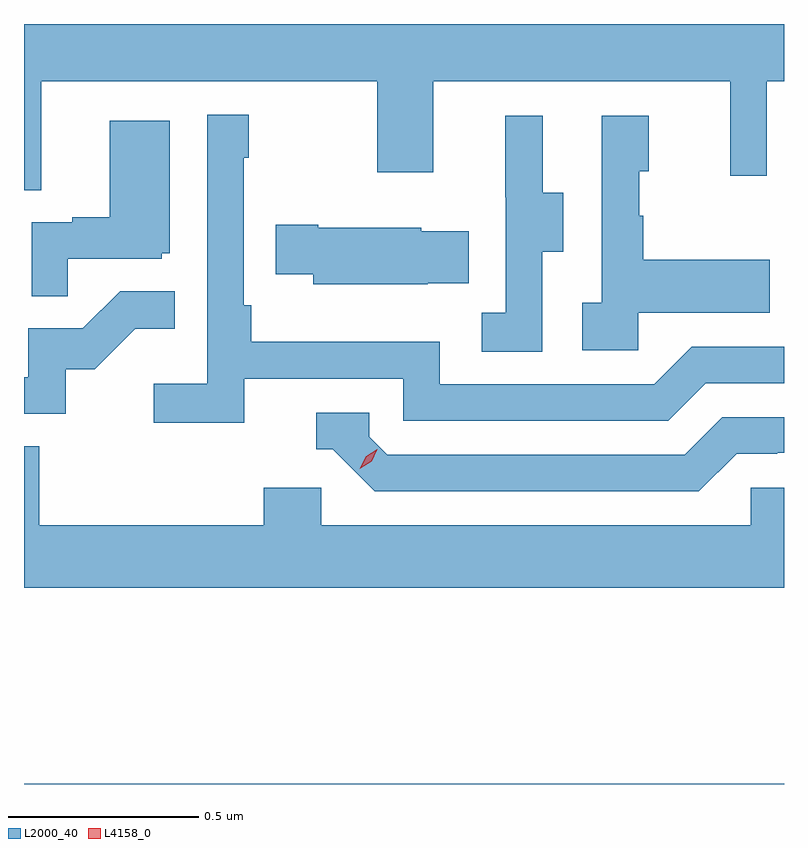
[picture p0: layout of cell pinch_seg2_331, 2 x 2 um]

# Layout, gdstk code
import gdstk
lib = gdstk.Library(unit=1e-6, precision=1e-09)
def R(c, l, rs):  # rectangles x0, y0, x1, y1
    for r in rs: c.add(gdstk.rectangle(r[:2], r[2:], *l))
def P(c, l, *ps):  # polygons
    for p in ps: c.add(gdstk.Polygon(p, *l))
L2000_40 = (2000, 40)
L4158_0 = (4158, 0)

pinch_seg2_331 = lib.new_cell('pinch_seg2_331')
R(pinch_seg2_331, L2000_40, [(900.826,625.807,902.826,625.808)])
P(pinch_seg2_331, L2000_40, [(900.871,627.656),(901.756,627.656),(901.756,627.417),(901.903,627.417),(901.903,627.656),(902.684,627.656),(902.684,627.408),(902.781,627.408),(902.781,627.656),(902.826,627.656),(902.826,627.807),(900.826,627.807),(900.826,627.37),(900.871,627.37)],
  [(901.406,626.874),(901.824,626.874),(901.824,626.763),(902.521,626.763),(902.62,626.862),(902.826,626.862),(902.826,626.958),(902.583,626.958),(902.484,626.859),(901.92,626.859),(901.92,626.971),(901.424,626.971),(901.424,627.067),(901.404,627.067),(901.404,627.455),(901.417,627.455),(901.417,627.568),(901.308,627.568),(901.308,626.86),(901.167,626.86),(901.167,626.758),(901.406,626.758)],
  [(902.442,627.047),(902.789,627.047),(902.789,627.187),(902.455,627.187),(902.455,627.302),(902.445,627.302),(902.445,627.42),(902.47,627.42),(902.47,627.565),(902.346,627.565),(902.346,627.074),(902.295,627.074),(902.295,626.949),(902.442,626.949)],
  [(902.19,627.208),(902.245,627.208),(902.245,627.363),(902.191,627.363),(902.191,627.565),(902.093,627.565),(902.093,627.351),(902.094,627.351),(902.094,627.047),(902.031,627.047),(902.031,626.944),(902.19,626.944)],
  [(900.941,627.189),(901.188,627.189),(901.188,627.204),(901.21,627.204),(901.21,627.553),(901.052,627.553),(901.052,627.298),(900.953,627.298),(900.953,627.285),(900.846,627.285),(900.846,627.091),(900.941,627.091)],
  [(901.889,627.125),(901.997,627.125),(901.997,627.262),(901.872,627.262),(901.872,627.271),(901.6,627.271),(901.6,627.279),(901.489,627.279),(901.489,627.149),(901.587,627.149),(901.587,627.122),(901.889,627.122)],
  [(900.936,626.898),(901.012,626.898),(901.119,627.005),(901.223,627.005),(901.223,627.104),(901.079,627.104),(900.981,627.006),(900.837,627.006),(900.837,626.877),(900.826,626.877),(900.826,626.781),(900.936,626.781)],
  [(902.701,626.676),(902.808,626.676),(902.808,626.679),(902.826,626.679),(902.826,626.772),(902.664,626.772),(902.565,626.673),(901.782,626.673),(901.734,626.721),(901.734,626.784),(901.595,626.784),(901.595,626.688),(901.638,626.688),(901.749,626.577),(902.602,626.577)],
  [(902.826,626.586),(902.739,626.586),(902.739,626.488),(901.608,626.488),(901.608,626.586),(901.457,626.586),(901.457,626.488),(900.866,626.488),(900.866,626.696),(900.826,626.696),(900.826,626.324),(902.826,626.324)])
P(pinch_seg2_331, L4158_0, [(901.71,626.636),(901.71,626.636),(901.726,626.669),(901.756,626.688),(901.756,626.688),(901.756,626.688),(901.741,626.656),(901.71,626.636)])

lib.write_gds('pinch_seg2_331.gds')
